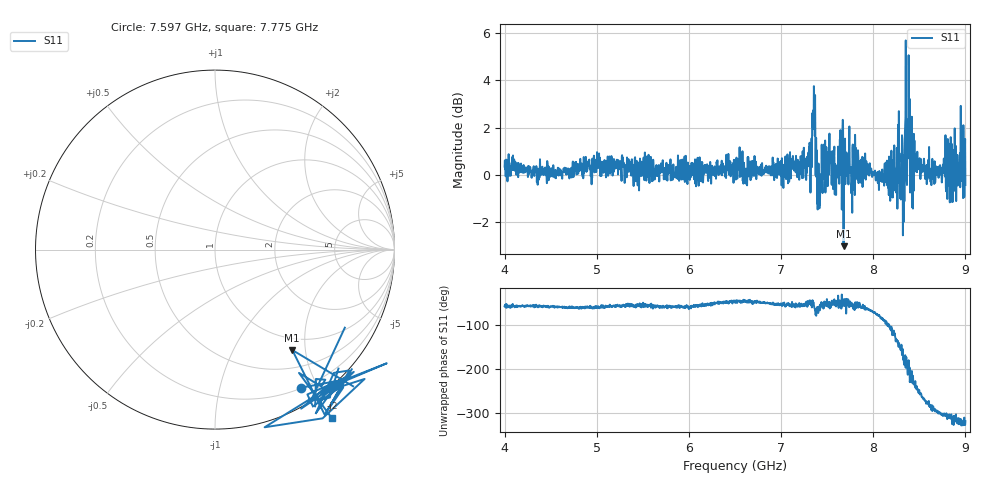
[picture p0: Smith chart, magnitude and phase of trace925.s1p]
! Created with skrf 1.8.0 (http://scikit-rf.org).
# Hz S RI R 50.0
!freq ReS11 ImS11
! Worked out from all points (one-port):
!   1601 points, 4 GHz to 9 GHz, reference 50 ohm
!   lowest |S11| = -3.0 dB at 7.678 GHz (marker M1), VSWR 5.80, Z = 39.3 - j87.8 ohm
!   |S11| at or under -10 dB: nowhere
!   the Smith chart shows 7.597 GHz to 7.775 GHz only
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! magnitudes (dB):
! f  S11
! 4 GHz  0.3
! 4.625 GHz  -0.2
! 5.25 GHz  0.2
! 5.875 GHz  -0.1
! 6.5 GHz  0.3
! 7.125 GHz  0.5
! 7.297 GHz  0.9
! 7.356 GHz  3.8
! 7.412 GHz  -0.2
! 7.516 GHz  0.0
! 7.606 GHz  0.4
! 7.65 GHz  1.5
! 7.678 GHz  -3.0
! 7.75 GHz  0.2
! 8.225 GHz  -0.3
! 8.294 GHz  -0.4
! 8.316 GHz  1.5
! 8.334 GHz  0.8
! 8.347 GHz  2.2
! 8.359 GHz  2.4
! 8.375 GHz  1.3
! 8.412 GHz  0.4
! 8.447 GHz  1.5
! 8.466 GHz  0.4
! 8.812 GHz  0.3
! 8.919 GHz  -0.5
! 8.959 GHz  1.6
! 9 GHz  -0.4
